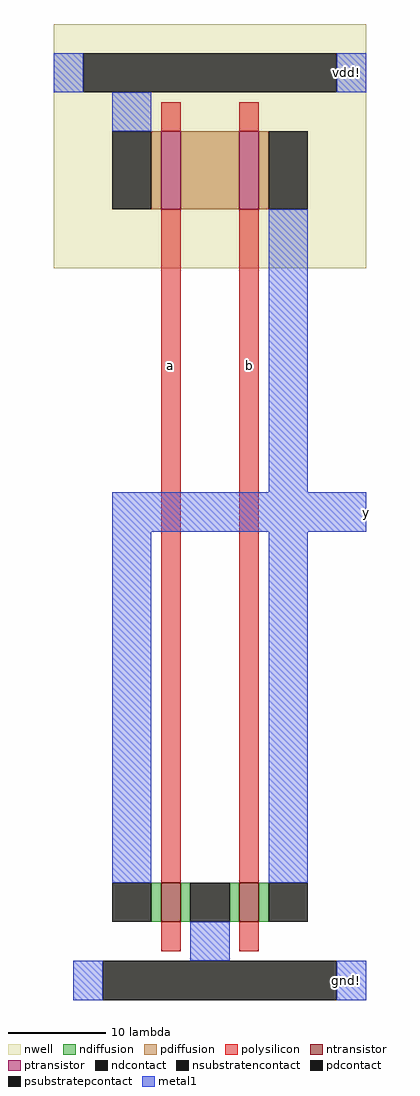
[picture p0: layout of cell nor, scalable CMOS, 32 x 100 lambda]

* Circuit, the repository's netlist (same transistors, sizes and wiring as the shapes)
* SPICE3 file created from /output/nor/nor.ext - technology: scmos

.option scale=0.12u

M1000 gnd a y Gnd nfet w=4 l=2
+  ad=24 pd=20 as=40 ps=36
M1001 y b a_11_81# vdd pfet w=8 l=2
+  ad=40 pd=26 as=48 ps=28
M1002 y b gnd Gnd nfet w=4 l=2
+  ad=0 pd=0 as=0 ps=0
M1003 a_11_81# a vdd vdd pfet w=8 l=2
+  ad=0 pd=0 as=40 ps=26

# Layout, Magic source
magic
tech scmos
<< nwell >>
rect -2 75 30 100
<< ntransistor >>
rect 9 8 11 12
rect 17 8 19 12
<< ptransistor >>
rect 9 81 11 89
rect 17 81 19 89
<< ndiffusion >>
rect 8 8 9 12
rect 11 8 12 12
rect 16 8 17 12
rect 19 8 20 12
<< pdiffusion >>
rect 8 81 9 89
rect 11 81 17 89
rect 19 81 20 89
<< ndcontact >>
rect 4 8 8 12
rect 12 8 16 12
rect 20 8 24 12
<< pdcontact >>
rect 4 81 8 89
rect 20 81 24 89
<< psubstratepcontact >>
rect 3 0 27 4
<< nsubstratencontact >>
rect 1 93 27 97
<< polysilicon >>
rect 9 89 11 92
rect 17 89 19 92
rect 9 12 11 81
rect 17 12 19 81
rect 9 5 11 8
rect 17 5 19 8
<< metal1 >>
rect -2 93 1 97
rect 27 93 30 97
rect 4 89 8 93
rect 20 52 24 81
rect 4 48 30 52
rect 4 12 8 48
rect 20 12 24 48
rect 12 4 16 8
rect 0 0 3 4
rect 27 0 30 4
<< labels >>
rlabel metal1 28 95 28 95 6 vdd!
rlabel metal1 30 48 30 52 7 y
rlabel polysilicon 10 65 10 65 1 a
rlabel polysilicon 18 65 18 65 1 b
rlabel metal1 28 2 28 2 8 gnd!
<< end >>
